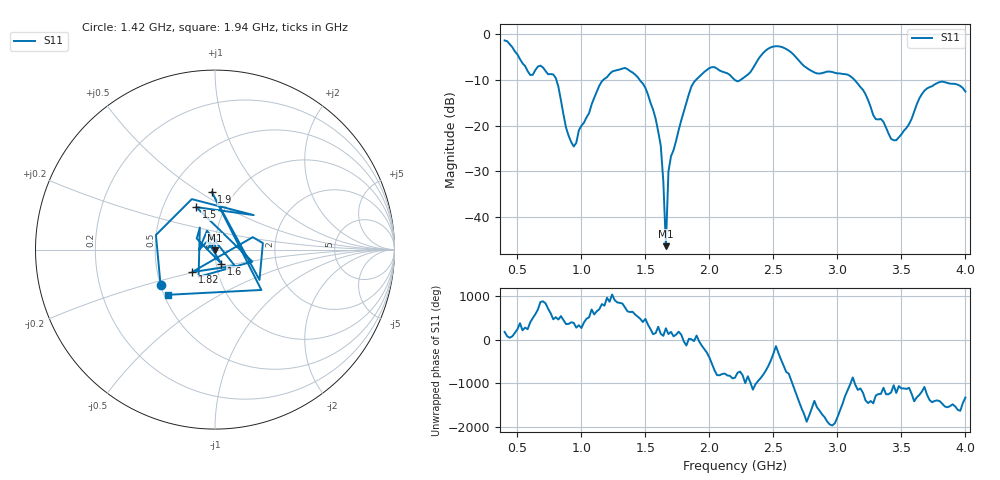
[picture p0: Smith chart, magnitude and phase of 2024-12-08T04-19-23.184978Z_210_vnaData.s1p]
!Created with skrf (http://scikit-rf.org).
# Hz S RI R 50.0
!freq ReS11 ImS11
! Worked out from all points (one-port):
!   181 points, 400 MHz to 4 GHz, reference 50 ohm
!   lowest |S11| = -46.5 dB at 1.66 GHz (marker M1), VSWR 1.01, Z = 49.9 - j0.466 ohm
!   |S11| at or under -10 dB: 804.4 MHz to 1.171 GHz (366.9 MHz wide, 37.1 % of centre); 1.455 GHz to 1.895 GHz (439.8 MHz wide, 26.3 % of centre); 3.134 GHz to end of sweep (the widest 3 of 4)
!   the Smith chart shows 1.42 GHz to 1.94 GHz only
!   S11 on the Smith chart (normalised r, x): 1.42 GHz: 0.50, -0.23; 1.5 GHz: 0.73, +0.37; 1.6 GHz: 1.06, -0.17; 1.82 GHz: 0.75, -0.19; 1.9 GHz: 0.79, +0.56; 1.94 GHz: 0.52, -0.30
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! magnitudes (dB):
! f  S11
! 400 MHz  -1.3
! 600 MHz  -8.9
! 780 MHz  -8.8
! 860 MHz  -17.6
! 940 MHz  -24.6
! 1.16 GHz  -10.3
! 1.3 GHz  -7.7
! 1.42 GHz  -8.8
! 1.5 GHz  -11.7
! 1.6 GHz  -21.3
! 1.62 GHz  -24.4
! 1.64 GHz  -32.2
! 1.66 GHz  -46.5
! 1.68 GHz  -30.1
! 1.76 GHz  -21.0
! 1.82 GHz  -15.0
! 1.9 GHz  -9.9
! 1.94 GHz  -8.8
! 2.04 GHz  -7.2
! 2.2 GHz  -10.0
! 2.48 GHz  -2.8
! 2.66 GHz  -4.5
! 2.84 GHz  -8.6
! 3.1 GHz  -9.2
! 3.42 GHz  -22.9
! 3.56 GHz  -19.7
! 3.7 GHz  -11.9
! 4 GHz  -12.5
